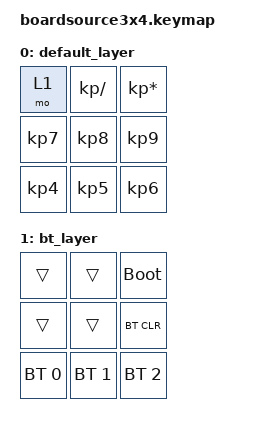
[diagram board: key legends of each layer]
#include <behaviors.dtsi>
#include <dt-bindings/zmk/keys.h>
#include <dt-bindings/zmk/bt.h>

/ {
    keymap {
        compatible = "zmk,keymap";

        default_layer {
            bindings = <
                &mo 1         &kp KP_SLASH     &kp KP_ASTERISK     
                &kp KP_N7     &kp KP_N8        &kp KP_N9           
                &kp KP_N4     &kp KP_N5        &kp KP_N6
            >;

        };

        bt_layer {
            bindings = <
                &trans   &trans   &bootloader
                &trans   &trans   &bt BT_CLR
                &bt BT_SEL 0    &bt BT_SEL 1    &bt BT_SEL 2
            >;
        };
    };
};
